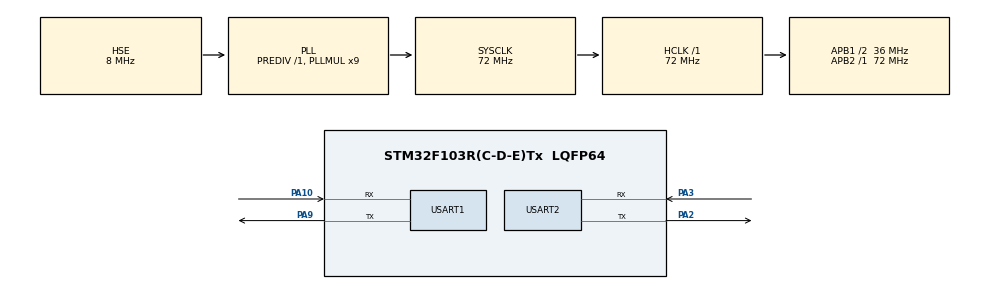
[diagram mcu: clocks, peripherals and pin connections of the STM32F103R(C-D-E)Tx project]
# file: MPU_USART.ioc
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Mcu.Family=STM32F1
Mcu.Name=STM32F103R(C-D-E)Tx
Mcu.Package=LQFP64
NVIC.PriorityGroup=NVIC_PRIORITYGROUP_4
NVIC.USART2_IRQn=true\:0\:0\:false\:false\:true\:true\:true
PA10.Mode=Asynchronous
PA10.Signal=USART1_RX
PA13.Mode=Serial_Wire
PA13.Signal=SYS_JTMS-SWDIO
PA14.Mode=Serial_Wire
PA14.Signal=SYS_JTCK-SWCLK
PA2.Mode=Asynchronous
PA2.Signal=USART2_TX
PA3.Mode=Asynchronous
PA3.Signal=USART2_RX
PA9.Mode=Asynchronous
PA9.Signal=USART1_TX
PD0-OSC_IN.Mode=HSE-External-Oscillator
PD0-OSC_IN.Signal=RCC_OSC_IN
PD1-OSC_OUT.Mode=HSE-External-Oscillator
PD1-OSC_OUT.Signal=RCC_OSC_OUT
ProjectManager.HeapSize=0x200
ProjectManager.StackSize=0x400
ProjectManager.TargetToolchain=MDK-ARM V5.27
RCC.AHBFreq_Value=72000000
RCC.APB1CLKDivider=RCC_HCLK_DIV2
RCC.APB1Freq_Value=36000000
RCC.APB1TimFreq_Value=72000000
RCC.APB2Freq_Value=72000000
RCC.APB2TimFreq_Value=72000000
RCC.HCLKFreq_Value=72000000
RCC.PLLMUL=RCC_PLL_MUL9
RCC.PLLSourceVirtual=RCC_PLLSOURCE_HSE
RCC.SYSCLKFreq_VALUE=72000000
RCC.SYSCLKSource=RCC_SYSCLKSOURCE_PLLCLK
RCC.USBFreq_Value=72000000
USART1.VirtualMode=VM_ASYNC
USART2.VirtualMode=VM_ASYNC
board=custom

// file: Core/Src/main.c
/* USER CODE BEGIN Header */
/**
  ******************************************************************************
  * @file           : main.c
  * @brief          : Main program body
  ******************************************************************************
  * @attention
  *
  * <h2><center>&copy; Copyright (c) 2020 STMicroelectronics.
  * All rights reserved.</center></h2>
  *
  * This software component is licensed by ST under BSD 3-Clause license,
  * the "License"; You may not use this file except in compliance with the
  * License. You may obtain a copy of the License at:
  *                        opensource.org/licenses/BSD-3-Clause
  *
  ******************************************************************************
  */
/* USER CODE END Header */
#include "main.h"
#include "usart.h"
#include "gpio.h"

/* USER CODE BEGIN Includes */
#include "stdio.h"
//重定义fputc函数
int fputc(int ch, FILE *f)
{
	while((USART1->SR&0X40)==0);//循环发送,直到发送完毕
    USART1->DR = (char) ch;
	return ch;
}
/* USER CODE END Includes */

/* USER CODE BEGIN PV */
int16_t YAW=0,PITCH=0,ROLL=0;
uint8_t flag=0;
uint8_t k=0,rebuf[8]={0};
/* USER CODE END PV */

void SystemClock_Config(void);

int main(void)
{

  /* MCU Configuration--------------------------------------------------------*/

  /* Reset of all peripherals, Initializes the Flash interface and the Systick. */
  HAL_Init();

  /* Configure the system clock */
  SystemClock_Config();

  /* Initialize all configured peripherals */
  MX_GPIO_Init();
  MX_USART1_UART_Init();
  MX_USART2_UART_Init();
  /* USER CODE BEGIN 2 */
	HAL_UART_Receive_IT(&huart2, (uint8_t *)&rebuf, 1);
  /* USER CODE END 2 */

  /* Infinite loop */
  /* USER CODE BEGIN WHILE */
  while (1)
  {
		HAL_Delay(500);

		printf("%d\r\n",ROLL);
    /* USER CODE END WHILE */

  }
}

void SystemClock_Config(void)
{
  RCC_OscInitTypeDef RCC_OscInitStruct = {0};
  RCC_ClkInitTypeDef RCC_ClkInitStruct = {0};

  /** Initializes the RCC Oscillators according to the specified parameters
  * in the RCC_OscInitTypeDef structure.
  */
  RCC_OscInitStruct.OscillatorType = RCC_OSCILLATORTYPE_HSE;
  RCC_OscInitStruct.HSEState = RCC_HSE_ON;
  RCC_OscInitStruct.HSEPredivValue = RCC_HSE_PREDIV_DIV1;
  RCC_OscInitStruct.HSIState = RCC_HSI_ON;
  RCC_OscInitStruct.PLL.PLLState = RCC_PLL_ON;
  RCC_OscInitStruct.PLL.PLLSource = RCC_PLLSOURCE_HSE;
  RCC_OscInitStruct.PLL.PLLMUL = RCC_PLL_MUL9;
  if (HAL_RCC_OscConfig(&RCC_OscInitStruct) != HAL_OK)
  {
    Error_Handler();
  }
  /** Initializes the CPU, AHB and APB buses clocks
  */
  RCC_ClkInitStruct.ClockType = RCC_CLOCKTYPE_HCLK|RCC_CLOCKTYPE_SYSCLK
                              |RCC_CLOCKTYPE_PCLK1|RCC_CLOCKTYPE_PCLK2;
  RCC_ClkInitStruct.SYSCLKSource = RCC_SYSCLKSOURCE_PLLCLK;
  RCC_ClkInitStruct.AHBCLKDivider = RCC_SYSCLK_DIV1;
  RCC_ClkInitStruct.APB1CLKDivider = RCC_HCLK_DIV2;
  RCC_ClkInitStruct.APB2CLKDivider = RCC_HCLK_DIV1;

  if (HAL_RCC_ClockConfig(&RCC_ClkInitStruct, FLASH_LATENCY_2) != HAL_OK)
  {
    Error_Handler();
  }
}

/* USER CODE BEGIN 4 */
void HAL_UART_RxCpltCallback(UART_HandleTypeDef *huart)
{
	if(!(rebuf[0]==0xaa))//如果帧头错误，清缓存
	{
		k=0;
		rebuf[0]=0;
	}
	if(k==8)//数据接收完毕
	{
		if(rebuf[7]==0x55)//判断帧尾，正确则解析姿态角
		{
			YAW=(rebuf[1]<<8|rebuf[2]);//YAW，PITCH,ROLL为真实值的100倍
			PITCH=(rebuf[3]<<8|rebuf[4]);
			ROLL=(rebuf[5]<<8|rebuf[6]);
			flag=1;
		}
		k=0;//清缓存
	}
	HAL_UART_Receive_IT(&huart2,&rebuf[k++],1);	//读取接收到的数据
}

/* USER CODE END 4 */

void Error_Handler(void)
{
}

/************************ (C) COPYRIGHT STMicroelectronics *****END OF FILE****/
